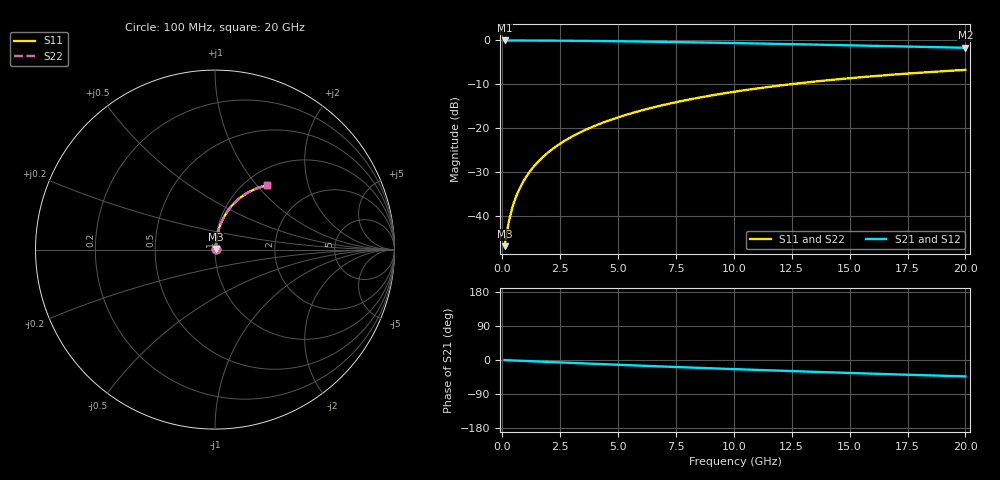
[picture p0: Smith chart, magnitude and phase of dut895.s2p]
! Touchstone file exported from HFSS 2024.1.0
!  File:  C:/UserFiles/LocalFiles/RDL_TSV_Batchsim/temp_RDL_bottom_895_1779866081.aedt
!  Generated:  03:17:12 PM May 27, 2026
!  Design:  RDL_bottom
!  Project:  temp_RDL_bottom_895_1779866081
!  Setup:  Setup1
!  Solution:  Sweep
! Variables:
!  dtsv = 10.80580581um
!  hbump = 3um
!  htsv = 83.18um
!  ldown = 563.56um
!  lrdl = 100um
!  p = 40
!  p1 = 52.52um
!  rhole = 1um
!  t = 450um
!  tdown = 3.81um
!  trdl = 3.915915916um
!  wdown = 14.8um
!  wrdl = 20um
# GHz S MA R 50.000000
! Terminal data exported
! Port[1] = RDL1_T1
! Port[2] = RDL1_T2
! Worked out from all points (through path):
!   200 points, 100 MHz to 20 GHz, reference 50 ohm
!   highest |S21| = -0.03 dB at 100 MHz (marker M1); lowest = -1.7 dB at 20 GHz (marker M2)
!   group delay of S21, straight-line fit = 6 ps
!   lowest |S11| = -46.7 dB at 100 MHz (marker M3), VSWR 1.01, Z = 50.4 + j0.283 ohm
!   |S11| at or under -10 dB: start of sweep to 12.41 GHz
!   |S22| runs from -46.7 to -6.7 dB; largest |S21 - S12| = 4.3e-15
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0.1  0.004598 37.6  0.9964 -0.3  0.9964 -0.3  0.004598 37.6
! Gamma 0 0 0 0
! Port Impedance 50 0 50 0
0.2  0.00672 56.1  0.9963 -0.5  0.9963 -0.5  0.00672 56.1
0.3  0.009175 65.0  0.9961 -0.8  0.9961 -0.8  0.009175 65.0
0.4  0.01172 69.9  0.996 -1.1  0.996 -1.1  0.01173 69.9
0.5  0.01431 72.9  0.9958 -1.3  0.9958 -1.3  0.01431 72.9
0.6  0.01691 75.1  0.9957 -1.6  0.9957 -1.6  0.01691 75.1
0.8  0.02213 77.7  0.9953 -2.1  0.9953 -2.1  0.02213 77.7
1.1  0.03002 79.8  0.9948 -2.9  0.9948 -2.9  0.03002 79.8
1.5  0.0406 81.1  0.9938 -3.9  0.9938 -3.9  0.0406 81.1
1.8  0.04857 81.5  0.993 -4.6  0.993 -4.6  0.04857 81.5
2.1  0.05654 81.6  0.992 -5.4  0.992 -5.4  0.05654 81.6
2.7  0.07251 81.4  0.9896 -6.9  0.9896 -6.9  0.07251 81.4
3.5  0.09378 80.6  0.9856 -8.9  0.9856 -8.9  0.09378 80.6
4.2  0.1123 79.6  0.9815 -10.7  0.9815 -10.7  0.1123 79.6
5  0.1335 78.4  0.976 -12.6  0.976 -12.6  0.1335 78.4
5.9  0.157 76.8  0.9692 -14.8  0.9692 -14.8  0.157 76.8
6.8  0.1804 75.2  0.9617 -16.9  0.9617 -16.9  0.1804 75.2
8.4  0.221 72.2  0.9471 -20.5  0.9471 -20.5  0.221 72.2
10.1  0.2627 69.0  0.9303 -24.3  0.9303 -24.3  0.2627 68.9
13.4  0.338 62.6  0.8952 -31.1  0.8952 -31.1  0.3379 62.6
16.7  0.4044 56.5  0.8588 -37.4  0.8588 -37.4  0.4044 56.5
20  0.4616 50.8  0.8226 -43.3  0.8226 -43.3  0.4616 50.8
